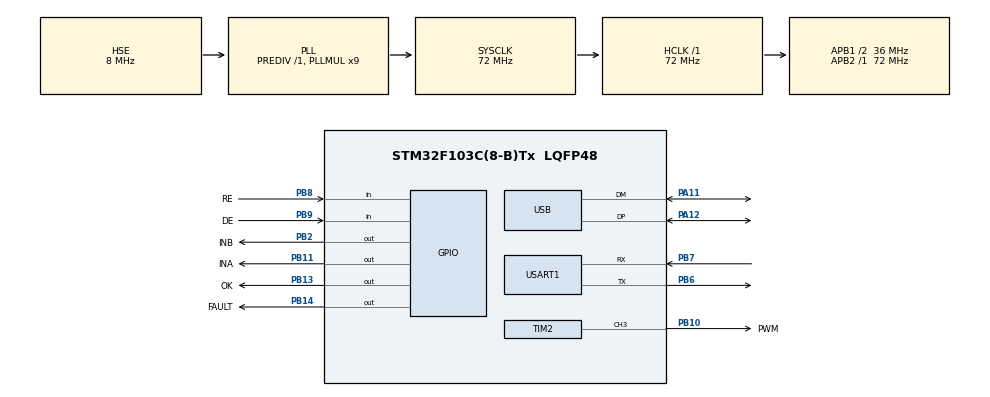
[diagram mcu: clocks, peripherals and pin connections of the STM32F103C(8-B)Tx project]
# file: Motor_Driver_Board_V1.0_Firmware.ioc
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Dma.Request0=USART1_RX
Dma.USART1_RX.0.Direction=DMA_PERIPH_TO_MEMORY
Dma.USART1_RX.0.Instance=DMA1_Channel5
Dma.USART1_RX.0.MemDataAlignment=DMA_MDATAALIGN_BYTE
Dma.USART1_RX.0.MemInc=DMA_MINC_ENABLE
Dma.USART1_RX.0.Mode=DMA_NORMAL
Dma.USART1_RX.0.PeriphDataAlignment=DMA_PDATAALIGN_BYTE
Dma.USART1_RX.0.PeriphInc=DMA_PINC_DISABLE
Dma.USART1_RX.0.Priority=DMA_PRIORITY_LOW
Mcu.Family=STM32F1
Mcu.Name=STM32F103C(8-B)Tx
Mcu.Package=LQFP48
NVIC.DMA1_Channel5_IRQn=true\:0\:0\:false\:false\:true\:false\:true\:true
NVIC.PriorityGroup=NVIC_PRIORITYGROUP_4
NVIC.USB_LP_CAN1_RX0_IRQn=true\:0\:0\:false\:false\:true\:false\:true\:true
PA11.Mode=Device
PA11.Signal=USB_DM
PA12.Mode=Device
PA12.Signal=USB_DP
PA13.Mode=Serial_Wire
PA13.Signal=SYS_JTMS-SWDIO
PA14.Mode=Serial_Wire
PA14.Signal=SYS_JTCK-SWCLK
PB10.GPIO_Label=PWM
PB10.Signal=S_TIM2_CH3
PB11.GPIO_Label=INA
PB11.Signal=GPIO_Output
PB13.GPIO_Label=OK
PB13.Signal=GPIO_Output
PB14.GPIO_Label=FAULT
PB14.Signal=GPIO_Output
PB2.GPIO_Label=INB
PB2.Signal=GPIO_Output
PB6.Mode=Asynchronous
PB6.Signal=USART1_TX
PB7.Mode=Asynchronous
PB7.Signal=USART1_RX
PB8.GPIO_Label=RE
PB8.Signal=GPIO_Input
PB9.GPIO_Label=DE
PB9.Signal=GPIO_Input
PD0-OSC_IN.Mode=HSE-External-Oscillator
PD0-OSC_IN.Signal=RCC_OSC_IN
PD1-OSC_OUT.Mode=HSE-External-Oscillator
PD1-OSC_OUT.Signal=RCC_OSC_OUT
ProjectManager.HeapSize=0x200
ProjectManager.StackSize=0x400
ProjectManager.TargetToolchain=STM32CubeIDE
RCC.AHBFreq_Value=72000000
RCC.APB1CLKDivider=RCC_HCLK_DIV2
RCC.APB1Freq_Value=36000000
RCC.APB1TimFreq_Value=72000000
RCC.APB2Freq_Value=72000000
RCC.APB2TimFreq_Value=72000000
RCC.HCLKFreq_Value=72000000
RCC.PLLMUL=RCC_PLL_MUL9
RCC.SYSCLKFreq_VALUE=72000000
RCC.SYSCLKSource=RCC_SYSCLKSOURCE_PLLCLK
RCC.USBFreq_Value=48000000
RCC.USBPrescaler=RCC_USBCLKSOURCE_PLL_DIV1_5
SH.S_TIM2_CH3.0=TIM2_CH3,PWM Generation3 CH3
TIM2.AutoReloadPreload=TIM_AUTORELOAD_PRELOAD_ENABLE
TIM2.Channel-PWM\ Generation3\ CH3=TIM_CHANNEL_3
TIM2.Period=254
TIM2.Prescaler=13
USART1.VirtualMode=VM_ASYNC
USB_DEVICE.CLASS_NAME_FS=CDC
USB_DEVICE.VirtualMode=Cdc
USB_DEVICE.VirtualModeFS=Cdc_FS
VP_TIM2_VS_ClockSourceINT.Mode=Internal
VP_USB_DEVICE_VS_USB_DEVICE_CDC_FS.Mode=CDC_FS
board=custom

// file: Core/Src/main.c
/* USER CODE BEGIN Header */
/**
  ******************************************************************************
  * @file           : main.c
  * @brief          : Main program body
  ******************************************************************************
  * @attention
  *
  * Copyright (c) 2026 STMicroelectronics.
  * All rights reserved.
  *
  * This software is licensed under terms that can be found in the LICENSE file
  * in the root directory of this software component.
  * If no LICENSE file comes with this software, it is provided AS-IS.
  *
  ******************************************************************************
  */
/* USER CODE END Header */
#include "main.h"
#include "dma.h"
#include "tim.h"
#include "usart.h"
#include "usb_device.h"
#include "gpio.h"

/* USER CODE BEGIN Includes */
#include <mtdriver_rs485.h>
#include <mtdriver_usbcdc.h>
#include <eeprom_emul.h>
#include <mtdriver_sys.h>
/* USER CODE END Includes */

/* USER CODE BEGIN PD */
extern MotorDriver motorDriver;
extern RS485_Device rs485Port;
extern uint8_t rs485RxOkFlag;

extern uint8_t usbcdcRxFlag;
extern uint8_t usbcdcRxOkFlag;
extern uint8_t dataContent;
extern uint8_t data;

uint16_t VirtAddVarTab[NB_OF_VAR] = {0x0001};
/* USER CODE END PD */

void SystemClock_Config(void);

/* USER CODE BEGIN 0 */
void MTDRIVER_USBCDC_RxCallback(void);
void MTDRIVER_RS485_RxCallback(void);

/* USER CODE END 0 */

int main(void)
{

  /* MCU Configuration--------------------------------------------------------*/

  /* Reset of all peripherals, Initializes the Flash interface and the Systick. */
  HAL_Init();

  /* Configure the system clock */
  SystemClock_Config();

  /* Initialize all configured peripherals */
  MX_GPIO_Init();
  MX_DMA_Init();
  MX_TIM2_Init();
  MX_USART1_UART_Init();
  MX_USB_DEVICE_Init();
  /* USER CODE BEGIN 2 */

  //Remember to unlock the permission to modify the Flash memory before-hand
  HAL_FLASH_Unlock();

  //Check the current status of the pages dedicatedly used for FEE
  if(EE_Init() != HAL_OK){
	  Error_Handler();
  }

  //Always set the variable 'motorDriver.uniqueBoardID' with value stored in the FEE virtual address
  if(EE_ReadVariable(0x0001, &motorDriver.uniqueBoardID) != HAL_OK){
  	  Error_Handler();
  }

  HAL_TIM_PWM_Start(&htim2, TIM_CHANNEL_3);
  /* USER CODE END 2 */

  /* Infinite loop */
  while (1)
  {

    /* USER CODE BEGIN 3 */
	  MTDRIVER_USBCDC_RxCallback();
	  MTDRIVER_RS485_RxCallback();
	  MTDRIVER_Control();
  }
  /* USER CODE END 3 */
}

void SystemClock_Config(void)
{
  RCC_OscInitTypeDef RCC_OscInitStruct = {0};
  RCC_ClkInitTypeDef RCC_ClkInitStruct = {0};
  RCC_PeriphCLKInitTypeDef PeriphClkInit = {0};

  /** Initializes the RCC Oscillators according to the specified parameters
  * in the RCC_OscInitTypeDef structure.
  */
  RCC_OscInitStruct.OscillatorType = RCC_OSCILLATORTYPE_HSE;
  RCC_OscInitStruct.HSEState = RCC_HSE_ON;
  RCC_OscInitStruct.HSEPredivValue = RCC_HSE_PREDIV_DIV1;
  RCC_OscInitStruct.HSIState = RCC_HSI_ON;
  RCC_OscInitStruct.PLL.PLLState = RCC_PLL_ON;
  RCC_OscInitStruct.PLL.PLLSource = RCC_PLLSOURCE_HSE;
  RCC_OscInitStruct.PLL.PLLMUL = RCC_PLL_MUL9;
  if (HAL_RCC_OscConfig(&RCC_OscInitStruct) != HAL_OK)
  {
    Error_Handler();
  }

  /** Initializes the CPU, AHB and APB buses clocks
  */
  RCC_ClkInitStruct.ClockType = RCC_CLOCKTYPE_HCLK|RCC_CLOCKTYPE_SYSCLK
                              |RCC_CLOCKTYPE_PCLK1|RCC_CLOCKTYPE_PCLK2;
  RCC_ClkInitStruct.SYSCLKSource = RCC_SYSCLKSOURCE_PLLCLK;
  RCC_ClkInitStruct.AHBCLKDivider = RCC_SYSCLK_DIV1;
  RCC_ClkInitStruct.APB1CLKDivider = RCC_HCLK_DIV2;
  RCC_ClkInitStruct.APB2CLKDivider = RCC_HCLK_DIV1;

  if (HAL_RCC_ClockConfig(&RCC_ClkInitStruct, FLASH_LATENCY_2) != HAL_OK)
  {
    Error_Handler();
  }
  PeriphClkInit.PeriphClockSelection = RCC_PERIPHCLK_USB;
  PeriphClkInit.UsbClockSelection = RCC_USBCLKSOURCE_PLL_DIV1_5;
  if (HAL_RCCEx_PeriphCLKConfig(&PeriphClkInit) != HAL_OK)
  {
    Error_Handler();
  }
}

/* USER CODE BEGIN 4 */
void MTDRIVER_USBCDC_RxCallback(){
	if(usbcdcRxFlag){
		MTDRIVER_USBCDC_RX_ReceiveData();
		usbcdcRxFlag = 0;
	}

	if(usbcdcRxOkFlag){
		if(dataContent == MT_DRIVER_UNIQUE_BOARD_ID){
			if(EE_WriteVariable(0x0001, data) != HAL_OK){
				Error_Handler();
			}
			else{
				if(EE_ReadVariable(0x0001, &motorDriver.uniqueBoardID) != HAL_OK){
					Error_Handler();
				}

			}
			HAL_FLASH_Lock();
		}

		usbcdcRxOkFlag = 0;

	}
}

//Use UART DMA to prevent overlapping interrupt service routines with the program in the main() loop
void HAL_UART_RxCpltCallback(UART_HandleTypeDef *huart){
	if (huart->Instance == USART1){
		MTDRIVER_RS485_RX_ReceiveData(&rs485Port);
		HAL_UARTEx_ReceiveToIdle_DMA(&huart1, rs485Port.rxBuffer, 10);

	}
}

void MTDRIVER_RS485_RxCallback(){
	if(rs485RxOkFlag){
		if(dataContent == MT_DRIVER_MODE_ID){
				if(data == COAST_MODE){
					MTDRIVER_UpdateSystemInfo(motorDriver.uniqueBoardID, motorDriver.pwm, BRAKE_MODE, motorDriver.fault);
				}
				else if (data == BRAKE_MODE){
					MTDRIVER_UpdateSystemInfo(motorDriver.uniqueBoardID, motorDriver.pwm, COAST_MODE, motorDriver.fault);
				}
		}

		else if(dataContent == MT_DRIVER_PWM_ID){
			if(data >= 0 && data <=255){
				MTDRIVER_UpdateSystemInfo(motorDriver.uniqueBoardID, data, motorDriver.mode, motorDriver.fault);
			}
		}

	}

	rs485RxOkFlag = 0;
}

/* USER CODE END 4 */

void Error_Handler(void)
{
  __disable_irq();
  while (1)
  {
  }
}
